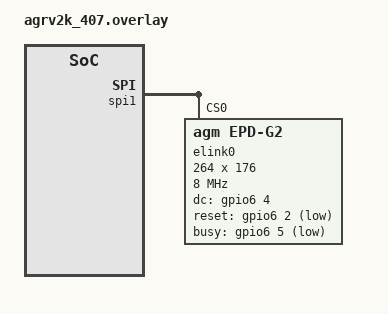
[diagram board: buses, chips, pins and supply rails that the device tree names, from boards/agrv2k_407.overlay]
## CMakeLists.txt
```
# SPDX-License-Identifier: Apache-2.0

cmake_minimum_required(VERSION 3.28.0)

find_package(Zephyr REQUIRED HINTS $ENV{ZEPHYR_BASE})
project(elink LANGUAGES C)

target_sources(app PRIVATE src/main.c)
```

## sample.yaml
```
# SPDX-License-Identifier: Apache-2.0
sample:
  name: elink
  description: |
    Pervasive Displays E2271CS091 (2.7", 264x176, G2/iTC COG) e-paper on the
    AgRV2K, wired to the same pins as the 40-pin LCD sample so one bitstream
    serves both. Full updates only -- this panel has no partial/fast refresh.
    build_only: the board is not guaranteed to have the panel attached.
tests:
  sample.elink.agm_agrv2k_407:
    build_only: true
    platform_allow:
      - agrv2k_407
    integration_platforms:
      - agrv2k_407
    tags:
      - ci_build
      - hal_ag32
```

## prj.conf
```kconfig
# SPDX-License-Identifier: Apache-2.0
#
# Console + GPIO only: the EPD's SPI is bit-banged, and the pin map is the
# sample's board overlay. See samples/hello_world/prj.conf for why CONFIG_XIP.

CONFIG_CONSOLE=y
CONFIG_UART_CONSOLE=y
CONFIG_SERIAL=y
CONFIG_UART_AGM=y

CONFIG_GPIO=y
CONFIG_GPIO_STELLARIS=y

# The panel's bus runs on the SPI1 engine (spi_agm); only D/C#, RST_N and
# BUSY_N are GPIOs. The engine's longer transfers use the system DMAC.
CONFIG_SPI=y
CONFIG_DMA=y

CONFIG_PRINTK=y
CONFIG_STDOUT_CONSOLE=y

CONFIG_XIP=y
```

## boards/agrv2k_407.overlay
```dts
/*  SPDX-License-Identifier: Apache-2.0 */
/*
 * elink -- Pervasive Displays E2271CS091 (2.7", 264x176, G2/iTC COG) on the
 * AgRV2K's SPI1 engine. No custom bitstream: the 200 MHz reference bitstream
 * (<your canonical bitstream>) already routes SPI1 and
 * the button pins this sample needs, so the pin list below is exactly what
 * that board.ve carries:
 *
 *    SPI1_WPN_IO2    PIN_60        (routed, unused here)
 *    SPI1_HOLDN_IO3  PIN_61        (routed, unused here)
 *    SPI1_SCK        PIN_62   SCL  panel clock   -> engine SCK
 *    SPI1_SI_IO0     PIN_63   SDA  panel data in -> engine MOSI
 *    SPI1_SO_IO1     PIN_64        (MISO, the panel never drives it)
 *    SPI1_CSN        PIN_65   CSB  -> engine chip select
 *    GPIO6_2         PIN_23   RST_N   (board Button1 pin)
 *    GPIO6_4         PIN_24   DC      (board Button2 pin)
 *    GPIO6_5         PIN_55   BUSY_N  (board Key pin)
 *    UART0           PIN_69 / PIN_68   console
 *
 * The three control/status lines stay GPIOs: the fabric's pin map decides
 * which pin carries which GPIO bit, and these are the pins the reference
 * bitstream exposes as GPIO.
 *
 * The sample's pin list replaces the board default wholesale (a dts overlay
 * replaces a property, it does not append), so it lists every row this
 * sample needs -- console, the four SPI1 lines it uses, and the three GPIOs.
 * Building a new bitstream from this file (`west build -t logic`) therefore
 * reproduces the reference routing for these pins.
 */

&agrv2k_pins {
	mcu-functions =
		"UART0_UARTRXD",
		"UART0_UARTTXD",
		"SPI1_WPN_IO2",
		"SPI1_HOLDN_IO3",
		"SPI1_SCK",
		"SPI1_SI_IO0",
		"SPI1_SO_IO1",
		"SPI1_CSN",
		"GPIO6_2",
		"GPIO6_4",
		"GPIO6_5";
	mcu-pins =
		<69>,
		<68>,
		<60>,
		<61>,
		<62>,
		<63>,
		<64>,
		<65>,
		<23>,
		<24>,
		<55>;
};

&spi1 {
	status = "okay";

	elink0: elink@0 {
		compatible = "agm,epd-g2";
		reg = <0>;
		/* The panel takes 10 MHz; 8 MHz divides SYSCLK cleanly and is
		 * what the application note's own examples use. */
		spi-max-frequency = <8000000>;
		width = <264>;
		height = <176>;

		dc-gpios = <&gpio6 4 GPIO_ACTIVE_HIGH>;          /* PIN_24 */
		reset-gpios = <&gpio6 2 GPIO_ACTIVE_LOW>;        /* PIN_23 */
		busy-gpios = <&gpio6 5 GPIO_ACTIVE_LOW>;         /* PIN_55 */
	};
};

/*
 * GPIO6_2 and GPIO6_4 are the board's Button1/Button2 pins; this sample
 * drives them as RST_N and DC. Drop the gpio-keys nodes that own them (and
 * the Key pin GPIO6_5 that becomes BUSY_N) so nothing else reconfigures
 * those pins behind the sample's back.
 */
&{/keys/button1} {
	status = "disabled";
};

&{/keys/button2} {
	status = "disabled";
};

&{/keys/sw1} {
	status = "disabled";
};

/* The SPI engine's long transfers stream through the system DMAC. */
&dma0 {
	status = "okay";
};
```

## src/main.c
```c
/*
 * Copyright (c) 2026 AgRV Contributors
 * SPDX-License-Identifier: Apache-2.0
 *
 * elink -- Pervasive Displays E2271CS091 (2.7", 264x176, "G2" iTC OTP-LUT COG)
 * on the AgRV2K. The bus runs on the SPI1 engine (SCK/MOSI/CSN) with the
 * panel's D/C#, RST_N and BUSY_N on GPIOs, so the sample runs on the stock
 * 200 MHz bitstream -- no custom pin map, no bit-banging.
 *
 * The command flow is Pervasive's "Application Note for small size Monochrome
 * EPD with iTC (OTP LUT)", rev 02, sections 2..5, cross-checked against
 * $HOME/esp-elink-main (Marcelo Barros de Almeida, MIT), which drives
 * this same panel: that reference never touches the DC/DC setting (0x01),
 * booster soft start (0x06) or PLL (0x30) registers, so the COG runs on its OTP
 * defaults and neither does this sample.
 *
 * This family only does full updates -- there is no partial/fast refresh.
 */

#include <zephyr/device.h>
#include <zephyr/devicetree.h>
#include <zephyr/drivers/gpio.h>
#include <zephyr/drivers/spi.h>
#include <zephyr/kernel.h>
#include <zephyr/sys/util.h>
#include <string.h>

#define EPD_NODE DT_NODELABEL(elink0)

/* Geometry as the glass is specified: 264 px in the scan direction, 176 px in
 * the data direction. */
#define EPD_W DT_PROP(EPD_NODE, width)
#define EPD_H DT_PROP(EPD_NODE, height)

/*
 * The COG's frame memory does not follow the glass' orientation: a line holds
 * 176 pixels and there are 264 of them (application note, "Input image to the
 * EPD" -- 2.7": N = 176, M = 264, 5 808 bytes per frame), 1 bit per pixel, MSB
 * first, 1 = black.
 */
#define EPD_LINE_BYTES  ((EPD_H + 7U) / 8U)     /* 22 bytes = 176 pixels */
#define EPD_LINES       EPD_W                   /* 264 lines */
#define EPD_FRAME_BYTES (EPD_LINE_BYTES * EPD_LINES)

BUILD_ASSERT(EPD_FRAME_BYTES == 5808U, "the 2.7\" frame is 5808 bytes (176 x 264 / 8)");

/* Register indices (application note sections 3..5). */
#define EPD_REG_PSR         0x00U
#define EPD_REG_POF         0x02U        /* DC/DC off */
#define EPD_REG_PON         0x04U        /* DC/DC on */
#define EPD_REG_DTM1        0x10U        /* first frame */
#define EPD_REG_DRF         0x12U        /* display refresh */
#define EPD_REG_DTM2        0x13U        /* second frame */
#define EPD_REG_ACTIVE_TEMP 0xE0U
#define EPD_REG_TSSET       0xE5U

#define EPD_SOFT_RESET  0x0EU
#define EPD_TSSET_25C   0x19U            /* top bit = sign, negatives in two's complement */
#define EPD_ACTIVE_TEMP 0x02U
#define EPD_PSR_0       0xCFU            /* every size but 2.9" HR, 3.7", 4.2", 4.37" */
#define EPD_PSR_1       0x8DU

/*
 * BUSY_N assertion window; the panel reacts in microseconds, so this only has
 * to be long enough to catch the pulse before the release loop samples the pin.
 */
#define EPD_BUSY_ASSERT_MS 100U

static const struct device *const bus = DEVICE_DT_GET(DT_BUS(EPD_NODE));

static const struct gpio_dt_spec dc = GPIO_DT_SPEC_GET(EPD_NODE, dc_gpios);
static const struct gpio_dt_spec rst = GPIO_DT_SPEC_GET(EPD_NODE, reset_gpios);
static const struct gpio_dt_spec busy = GPIO_DT_SPEC_GET(EPD_NODE, busy_gpios);

static uint8_t framebuffer[EPD_FRAME_BYTES];

/*
 * SPI mode 0, MSB first, 8 bits; the panel takes up to 10 MHz and the engine
 * divides SYSCLK down to whatever the node asks for.
 *
 * The panel's framing is not the usual one: **every byte gets its own CS#
 * pulse** -- "if register data is more than one byte, the CS# pulse is
 * necessary between each data byte" (application note, "SPI Timing Format").
 * The AgRV2K engine asserts CSN for exactly one transfer, so one byte per
 * `spi_write()` is precisely that, with the hardware doing the shifting.
 * (esp-elink streams a whole frame under one CS# and lets the ESP32 hardware
 * drive it; here the note wins.)
 */
static const struct spi_config epd_spi_cfg = {
	.frequency = DT_PROP(EPD_NODE, spi_max_frequency),
	.operation = SPI_OP_MODE_CONTROLLER | SPI_WORD_SET(8) | SPI_TRANSFER_MSB,
	.slave = DT_REG_ADDR(EPD_NODE),
};

/* One byte on the bus: D/C# first -- it has a 30 ns setup time before SCLK
 * starts moving (application note, "SPI command timing") -- then the byte. */
static int epd_byte(bool is_data, uint8_t value)
{
	struct spi_buf buf = { .buf = &value, .len = 1 };
	const struct spi_buf_set tx = { .buffers = &buf, .count = 1 };

	gpio_pin_set_dt(&dc, is_data ? 1 : 0);
	return spi_write(bus, &epd_spi_cfg, &tx);
}

/* Register write: index byte (D/C# = 0) followed by N data bytes (D/C# = 1). */
static int epd_write(uint8_t index, const uint8_t *data, size_t len)
{
	int rc = epd_byte(false, index);

	for (size_t i = 0; rc == 0 && i < len; i++) {
		rc = epd_byte(true, data[i]);
	}
	return rc;
}

/*
 * A command is the index on its own: 0x02, 0x04 and 0x12 carry no data
 * (application note, "Send updating command", note 2).
 */
static int epd_cmd(uint8_t index)
{
	return epd_byte(false, index);
}

/*
 * BUSY_N is low while the COG executes a command -- "when Busy is Low, the
 * operation of the chip should not be interrupted, and Command should not be
 * sent" (datasheet table 5-1) -- and returns high when it is done.
 *
 * The wait is two-phase: a bounded window for the assertion, then a bounded
 * wait for the release. The reference driver only waits for the release, which
 * sails straight through when the level is still high from an earlier step;
 * waiting for the pulse first makes a panel that is not there visible instead.
 */
static int epd_wait_busy(const char *what, uint32_t release_ms)
{
	int64_t deadline = k_uptime_get() + EPD_BUSY_ASSERT_MS;
	bool asserted = false;

	while (k_uptime_get() < deadline) {
		if (gpio_pin_get_dt(&busy) != 0) {
			asserted = true;
			break;
		}
	}

	deadline = k_uptime_get() + release_ms;
	while (gpio_pin_get_dt(&busy) != 0) {
		if (k_uptime_get() > deadline) {
			printk("elink: BUSY_N still low %u ms after %s\n",
			       (unsigned int)release_ms, what);
			return -ETIMEDOUT;
		}
	}

	if (!asserted) {
		printk("elink: %s: BUSY_N never went low (panel not answering?)\n", what);
	}
	return 0;
}

/*
 * Power-on sequence (application note section 2): RES# low, then high. The note
 * starts from "VCC/VDD, RES#, CS#, SDIN, SCLK = 0" and asks for a soft start on
 * VCC/VDD, which is not under software control here.
 */
static void epd_reset(void)
{
	gpio_pin_set_dt(&rst, 1);               /* RES# asserted (active low) */
	k_msleep(5);
	gpio_pin_set_dt(&rst, 0);               /* released */
	k_msleep(10);
}

/* Reset, environment temperature and panel settings (note sections 2 and 3). */
static int panel_init(void)
{
	const uint8_t soft_reset = EPD_SOFT_RESET;
	const uint8_t tsset = EPD_TSSET_25C;
	const uint8_t active_temp = EPD_ACTIVE_TEMP;
	const uint8_t psr[2] = { EPD_PSR_0, EPD_PSR_1 };
	int rc;

	epd_reset();

	rc = epd_write(EPD_REG_PSR, &soft_reset, 1);
	if (rc != 0) {
		return rc;
	}
	rc = epd_wait_busy("soft reset", 500);
	if (rc != 0) {
		return rc;
	}

	/*
	 * TSSET is the panel temperature in Celsius -- the note reads it from a
	 * sensor; this sample has none and pins it at 25 C.
	 */
	rc = epd_write(EPD_REG_TSSET, &tsset, 1);
	if (rc == 0) {
		rc = epd_write(EPD_REG_ACTIVE_TEMP, &active_temp, 1);
	}
	if (rc == 0) {
		rc = epd_write(EPD_REG_PSR, psr, sizeof(psr));
	}
	if (rc != 0) {
		return rc;
	}

	printk("elink: init sent -- soft reset 0x%02x, TSSET 0x%02x (25 C), "
	       "active temp 0x%02x, PSR 0x%02x,0x%02x\n",
	       soft_reset, tsset, active_temp, psr[0], psr[1]);
	return 0;
}

/*
 * Paint a border plus every 16th line. The frame is addressed the way the COG
 * expects it: EPD_LINE_BYTES bytes per line (data direction), EPD_LINES lines
 * (scan direction), MSB first, 1 = black.
 */
static void draw_test_image(void)
{
	memset(framebuffer, 0, sizeof(framebuffer));

	for (uint16_t line = 0; line < EPD_LINES; line++) {
		for (uint16_t px = 0; px < EPD_H; px++) {
			bool on = (line == 0 || line == EPD_LINES - 1 ||
				   px == 0 || px == EPD_H - 1 || (line % 16) == 0);

			if (on) {
				framebuffer[line * EPD_LINE_BYTES + px / 8U] |=
					(uint8_t)(0x80U >> (px % 8U));
			}
		}
	}
}

/*
 * One full update (note sections 4 and 5): *two* frames -- the image (1 = black)
 * under 0x10, then the same number of 0x00 bytes under 0x13 -- and then the
 * update command: 0x04 powers the DC/DC on, 0x12 refreshes, 0x02 powers it off
 * again (note section 5, "Turn-off DC/DC"; esp-elink does the same and then
 * parks the bus, which this does too).
 */
static int panel_update(int64_t *frames_ms)
{
	static const uint8_t blank[64];
	int64_t start = k_uptime_get();
	int rc;

	rc = epd_byte(false, EPD_REG_DTM1);
	for (size_t i = 0; rc == 0 && i < sizeof(framebuffer); i++) {
		rc = epd_byte(true, framebuffer[i]);
	}
	if (rc != 0) {
		return rc;
	}

	rc = epd_byte(false, EPD_REG_DTM2);
	for (size_t sent = 0; rc == 0 && sent < sizeof(framebuffer); sent += sizeof(blank)) {
		size_t n = MIN(sizeof(framebuffer) - sent, sizeof(blank));

		for (size_t i = 0; rc == 0 && i < n; i++) {
			rc = epd_byte(true, blank[i]);
		}
	}
	if (rc != 0) {
		return rc;
	}

	*frames_ms = k_uptime_get() - start;

	rc = epd_cmd(EPD_REG_PON);
	if (rc == 0) {
		rc = epd_wait_busy("DC/DC on", 2000);
	}
	if (rc != 0) {
		return rc;
	}

	/*
	 * Tr is 5 s at 25 C and grows with temperature (datasheet table 6-2),
	 * and the panel's boost current during it can disturb the console on a
	 * dev board rig -- one capture ended right here. Report what is already
	 * known before issuing the refresh, so that a log which stops at this
	 * line still says the bus, both frames and the DC/DC-on were fine.
	 */
	printk("elink: two %u-byte frames out in %lld ms, DC/DC on; refreshing\n",
	       (unsigned int)sizeof(framebuffer), *frames_ms);

	rc = epd_cmd(EPD_REG_DRF);
	if (rc == 0) {
		rc = epd_wait_busy("refresh", 30000);
	}
	if (rc != 0) {
		return rc;
	}

	rc = epd_cmd(EPD_REG_POF);
	if (rc == 0) {
		rc = epd_wait_busy("DC/DC off", 5000);
	}
	if (rc != 0) {
		return rc;
	}

	/*
	 * Park the bus: DC and RES# low, as the reference leaves it and as the
	 * note's power-on flow expects to find it. The engine keeps CSN high
	 * between transfers by itself.
	 */
	gpio_pin_set_dt(&dc, 0);
	k_msleep(150);
	gpio_pin_set_dt(&rst, 1);
	return 0;
}

int main(void)
{
	const struct gpio_dt_spec *pins[] = { &dc, &rst, &busy };
	int64_t frames_ms = 0;
	int rc = 0;

	if (!device_is_ready(bus)) {
		printk("elink: SPI bus not ready\n");
		return -ENODEV;
	}

	for (unsigned int i = 0; i < ARRAY_SIZE(pins); i++) {
		if (!gpio_is_ready_dt(pins[i])) {
			printk("elink: gpio %u not ready\n", i);
			return -ENODEV;
		}
		rc |= gpio_pin_configure_dt(pins[i],
			(pins[i] == &busy) ? GPIO_INPUT : GPIO_OUTPUT_INACTIVE);
	}
	if (rc != 0) {
		printk("elink: RESULT: FAIL (gpio setup rc=%d)\n", rc);
		return rc;
	}

	printk("elink: E2271CS091 %ux%u, %ux%u frame of %u bytes, %s at %u Hz\n",
	       EPD_W, EPD_H, EPD_H, EPD_LINES, (unsigned int)sizeof(framebuffer),
	       bus->name, (unsigned int)DT_PROP(EPD_NODE, spi_max_frequency));
	printk("elink: DC=%s.%u RST_N=%s.%u BUSY_N=%s.%u\n",
	       dc.port->name, dc.pin, rst.port->name, rst.pin,
	       busy.port->name, busy.pin);

	rc = panel_init();
	if (rc != 0) {
		printk("elink: RESULT: FAIL (panel_init rc=%d)\n", rc);
		printk("elink: BUSY_N still low right after the soft reset means the "
		       "panel is not driving it -- check its VDD/VDDIO and the "
		       "BUSY_N wire.\n");
		return rc;
	}

	draw_test_image();
	rc = panel_update(&frames_ms);
	if (rc != 0) {
		printk("elink: RESULT: FAIL (update rc=%d)\n", rc);
		return rc;
	}

	printk("elink: RESULT: PASS -- two %u-byte frames pushed in %lld ms and "
	       "the DC/DC cycled; the border plus every 16th line should be black "
	       "by then (Tr is ~5 s at 25 C, on top of this).\n",
	       (unsigned int)sizeof(framebuffer), frames_ms);
	return 0;
}
```
